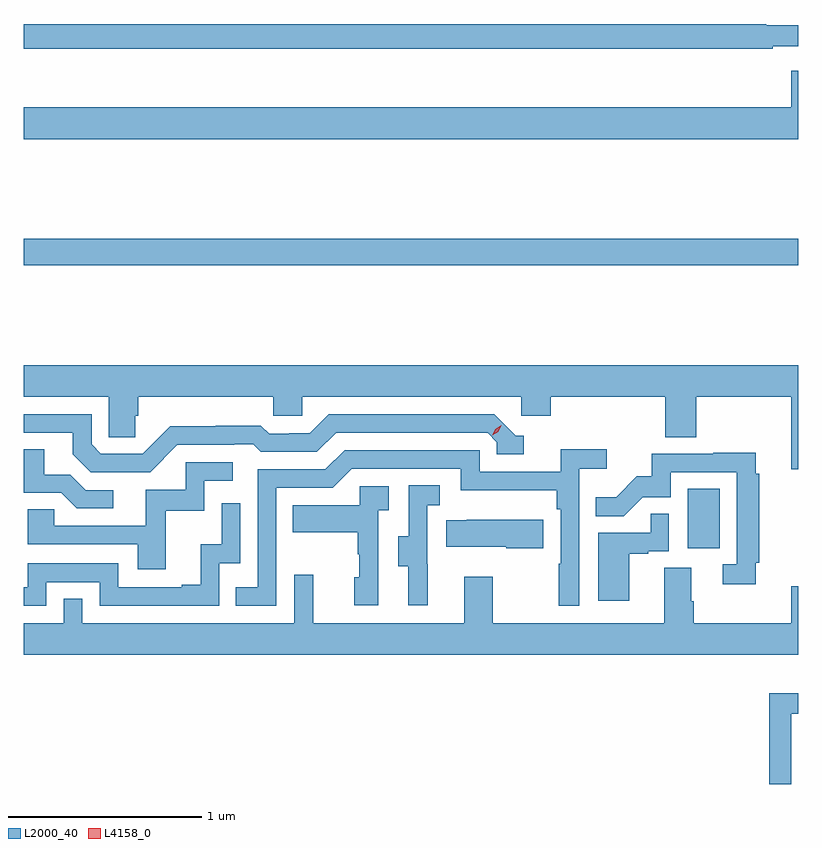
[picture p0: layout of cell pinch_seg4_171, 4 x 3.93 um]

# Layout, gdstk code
import gdstk
lib = gdstk.Library(unit=1e-6, precision=1e-09)
def R(c, l, rs):  # rectangles x0, y0, x1, y1
    for r in rs: c.add(gdstk.rectangle(r[:2], r[2:], *l))
def P(c, l, *ps):  # polygons
    for p in ps: c.add(gdstk.Polygon(p, *l))
L2000_40 = (2000, 40)
L4158_0 = (4158, 0)

pinch_seg4_171 = lib.new_cell('pinch_seg4_171')
R(pinch_seg4_171, L2000_40, [(1111.526,801.366,1111.69,801.673), (1108.096,802.828,1112.096,802.964)])
P(pinch_seg4_171, L2000_40, [(1111.964,803.958),(1112.096,803.958),(1112.096,804.067),(1111.93,804.067),(1111.93,804.074),(1108.096,804.074),(1108.096,803.946),(1111.964,803.946)],
  [(1112.096,803.833),(1112.06,803.833),(1112.06,803.644),(1108.096,803.644),(1108.096,803.48),(1112.096,803.48)],
  [(1112.096,802.312),(1108.096,802.312),(1108.096,802.148),(1108.536,802.148),(1108.536,801.94),(1108.673,801.94),(1108.673,802.05),(1108.688,802.05),(1108.688,802.148),(1109.385,802.148),(1109.385,802.05),(1109.535,802.05),(1109.535,802.148),(1110.666,802.148),(1110.666,802.05),(1110.818,802.05),(1110.818,802.148),(1111.409,802.148),(1111.409,801.94),(1111.569,801.94),(1111.569,802.148),(1112.06,802.148),(1112.06,801.774),(1112.096,801.774)],
  [(1108.89,801.9),(1109.183,801.9),(1109.183,801.903),(1109.282,801.903),(1109.321,801.864),(1109.61,801.864),(1109.709,801.963),(1110.492,801.963),(1110.54,801.915),(1110.54,801.852),(1110.679,801.852),(1110.679,801.948),(1110.636,801.948),(1110.525,802.059),(1109.672,802.059),(1109.573,801.96),(1109.466,801.96),(1109.466,801.957),(1109.363,801.957),(1109.321,802),(1109.088,802),(1109.088,801.997),(1108.852,801.997),(1108.71,801.855),(1108.494,801.855),(1108.446,801.903),(1108.446,802.059),(1108.096,802.059),(1108.096,801.963),(1108.349,801.963),(1108.349,801.853),(1108.443,801.759),(1108.749,801.759)],
  [(1108.558,801.666),(1108.416,801.666),(1108.336,801.746),(1108.201,801.746),(1108.201,801.878),(1108.096,801.878),(1108.096,801.654),(1108.289,801.654),(1108.37,801.573),(1108.558,801.573)],
  [(1109.4,801.678),(1109.691,801.678),(1109.79,801.777),(1110.354,801.777),(1110.354,801.665),(1110.85,801.665),(1110.85,801.569),(1110.87,801.569),(1110.87,801.287),(1110.858,801.287),(1110.858,801.069),(1110.966,801.069),(1110.966,801.776),(1111.108,801.776),(1111.108,801.878),(1110.869,801.878),(1110.869,801.762),(1110.45,801.762),(1110.45,801.873),(1109.753,801.873),(1109.654,801.774),(1109.304,801.774),(1109.304,801.165),(1109.191,801.165),(1109.191,801.069),(1109.4,801.069)],
  [(1111.877,801.292),(1111.895,801.292),(1111.895,801.752),(1111.877,801.752),(1111.877,801.86),(1111.657,801.86),(1111.657,801.855),(1111.339,801.855),(1111.339,801.738),(1111.262,801.738),(1111.155,801.631),(1111.051,801.631),(1111.051,801.532),(1111.195,801.532),(1111.293,801.63),(1111.437,801.63),(1111.437,801.759),(1111.779,801.759),(1111.779,801.285),(1111.707,801.285),(1111.707,801.18),(1111.877,801.18)],
  [(1108.829,801.561),(1109.028,801.561),(1109.028,801.714),(1109.176,801.714),(1109.176,801.81),(1108.932,801.81),(1108.932,801.669),(1108.727,801.669),(1108.727,801.483),(1108.253,801.483),(1108.253,801.567),(1108.116,801.567),(1108.116,801.387),(1108.685,801.387),(1108.685,801.258),(1108.829,801.258)],
  [(1110.182,801.285),(1110.18,801.285),(1110.18,801.589),(1110.244,801.589),(1110.244,801.692),(1110.084,801.692),(1110.084,801.429),(1110.029,801.429),(1110.029,801.274),(1110.083,801.274),(1110.083,801.072),(1110.182,801.072)],
  [(1109.928,801.563),(1109.98,801.563),(1109.98,801.687),(1109.832,801.687),(1109.832,801.589),(1109.485,801.589),(1109.485,801.449),(1109.82,801.449),(1109.82,801.335),(1109.83,801.335),(1109.83,801.216),(1109.804,801.216),(1109.804,801.072),(1109.928,801.072)],
  [(1108.212,801.192),(1108.488,801.192),(1108.488,801.069),(1109.106,801.069),(1109.106,801.288),(1109.214,801.288),(1109.214,801.598),(1109.118,801.598),(1109.118,801.386),(1109.009,801.386),(1109.009,801.178),(1108.913,801.178),(1108.913,801.165),(1108.584,801.165),(1108.584,801.288),(1108.116,801.288),(1108.116,801.165),(1108.096,801.165),(1108.096,801.069),(1108.212,801.069)],
  [(1111.222,801.339),(1111.322,801.339),(1111.322,801.351),(1111.428,801.351),(1111.428,801.545),(1111.333,801.545),(1111.333,801.447),(1111.064,801.447),(1111.064,801.096),(1111.222,801.096)],
  [(1110.778,801.514),(1110.385,801.514),(1110.385,801.511),(1110.277,801.511),(1110.277,801.374),(1110.587,801.374),(1110.587,801.367),(1110.778,801.367)],
  [(1112.096,801.169),(1112.06,801.169),(1112.06,800.98),(1111.556,800.98),(1111.556,801.092),(1111.543,801.092),(1111.543,801.266),(1111.403,801.266),(1111.403,800.98),(1110.519,800.98),(1110.519,801.22),(1110.371,801.22),(1110.371,800.98),(1109.591,800.98),(1109.591,801.229),(1109.493,801.229),(1109.493,800.98),(1108.398,800.98),(1108.398,801.107),(1108.302,801.107),(1108.302,800.98),(1108.096,800.98),(1108.096,800.816),(1112.096,800.816)],
  [(1112.061,800.511),(1112.096,800.511),(1112.096,800.617),(1111.945,800.617),(1111.945,800.149),(1112.061,800.149)])
P(pinch_seg4_171, L4158_0, [(1110.515,801.949),(1110.515,801.95),(1110.532,801.982),(1110.563,802.002),(1110.563,802.002),(1110.563,802.001),(1110.547,801.969),(1110.516,801.949)])

lib.write_gds('pinch_seg4_171.gds')
